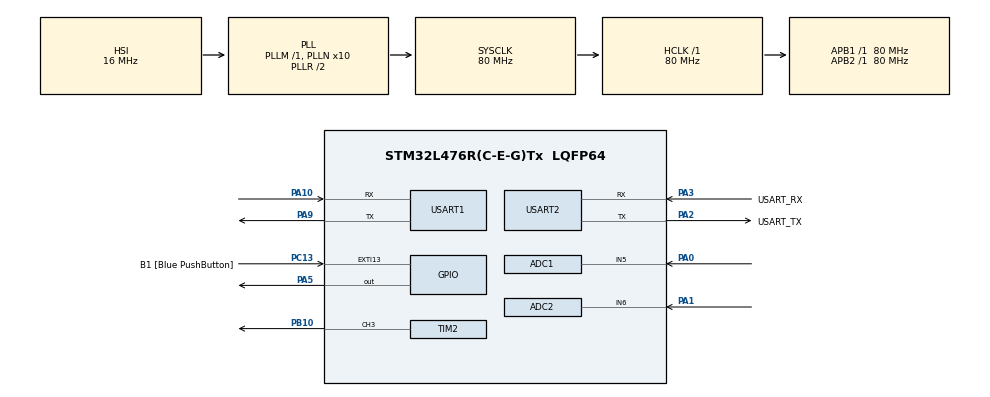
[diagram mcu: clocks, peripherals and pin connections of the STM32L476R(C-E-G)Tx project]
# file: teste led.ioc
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ADC1.Channel-1\#ChannelRegularConversion=ADC_CHANNEL_5
ADC1.NbrOfConversionFlag=1
ADC1.OffsetNumber-1\#ChannelRegularConversion=ADC_OFFSET_NONE
ADC1.Rank-1\#ChannelRegularConversion=1
ADC1.SamplingTime-1\#ChannelRegularConversion=ADC_SAMPLETIME_2CYCLES_5
ADC1.master=1
ADC2.Channel-0\#ChannelRegularConversion=ADC_CHANNEL_6
ADC2.NbrOfConversionFlag=1
ADC2.OffsetNumber-0\#ChannelRegularConversion=ADC_OFFSET_NONE
ADC2.Rank-0\#ChannelRegularConversion=1
ADC2.SamplingTime-0\#ChannelRegularConversion=ADC_SAMPLETIME_2CYCLES_5
FREERTOS.Tasks01=defaultTask,0,128,StartDefaultTask,Default,NULL,Dynamic,NULL,NULL
FREERTOS.configTOTAL_HEAP_SIZE=8192
Mcu.Family=STM32L4
Mcu.Name=STM32L476R(C-E-G)Tx
Mcu.Package=LQFP64
NVIC.PriorityGroup=NVIC_PRIORITYGROUP_4
NVIC.TIM1_UP_TIM16_IRQn=true\:15\:0\:false\:false\:true\:false\:false\:true
NVIC.TIM3_IRQn=true\:5\:0\:false\:false\:true\:true\:true\:true
NVIC.TimeBase=TIM1_UP_TIM16_IRQn
NVIC.TimeBaseIP=TIM1
NVIC.USART1_IRQn=true\:5\:0\:false\:false\:true\:true\:true\:true
NVIC.USART2_IRQn=true\:5\:0\:false\:false\:true\:true\:true\:true
PA0.Signal=ADCx_IN5
PA1.Signal=ADCx_IN6
PA10.Mode=Asynchronous
PA10.Signal=USART1_RX
PA13\ (JTMS-SWDIO).GPIO_Label=TMS
PA13\ (JTMS-SWDIO).Mode=Serial_Wire
PA13\ (JTMS-SWDIO).Signal=SYS_JTMS-SWDIO
PA14\ (JTCK-SWCLK).GPIO_Label=TCK
PA14\ (JTCK-SWCLK).Mode=Serial_Wire
PA14\ (JTCK-SWCLK).Signal=SYS_JTCK-SWCLK
PA2.GPIO_Label=USART_TX
PA2.GPIO_Mode=GPIO_MODE_AF_PP
PA2.GPIO_PuPd=GPIO_NOPULL
PA2.GPIO_Speed=GPIO_SPEED_FREQ_VERY_HIGH
PA2.Mode=Asynchronous
PA2.Signal=USART2_TX
PA3.GPIO_Label=USART_RX
PA3.GPIO_Mode=GPIO_MODE_AF_PP
PA3.GPIO_PuPd=GPIO_NOPULL
PA3.GPIO_Speed=GPIO_SPEED_FREQ_VERY_HIGH
PA3.Mode=Asynchronous
PA3.Signal=USART2_RX
PA5.Signal=GPIO_Output
PA9.Mode=Asynchronous
PA9.Signal=USART1_TX
PB10.Signal=S_TIM2_CH3
PB3\ (JTDO-TRACESWO).GPIO_Label=SWO
PB3\ (JTDO-TRACESWO).Signal=SYS_JTDO-SWO
PC13.GPIO_Label=B1 [Blue PushButton]
PC13.GPIO_ModeDefaultEXTI=GPIO_MODE_IT_FALLING
PC13.GPIO_PuPd=GPIO_NOPULL
PC13.Signal=GPXTI13
PC14-OSC32_IN\ (PC14).Mode=LSE-External-Oscillator
PC14-OSC32_IN\ (PC14).Signal=RCC_OSC32_IN
PC15-OSC32_OUT\ (PC15).Mode=LSE-External-Oscillator
PC15-OSC32_OUT\ (PC15).Signal=RCC_OSC32_OUT
PH0-OSC_IN\ (PH0).Signal=RCC_OSC_IN
PH1-OSC_OUT\ (PH1).Signal=RCC_OSC_OUT
ProjectManager.HeapSize=0x200
ProjectManager.StackSize=0x400
ProjectManager.TargetToolchain=STM32CubeIDE
RCC.ADCFreq_Value=64000000
RCC.AHBFreq_Value=80000000
RCC.APB1Freq_Value=80000000
RCC.APB1TimFreq_Value=80000000
RCC.APB2Freq_Value=80000000
RCC.APB2TimFreq_Value=80000000
RCC.CortexFreq_Value=80000000
RCC.HCLKFreq_Value=80000000
RCC.HSE_VALUE=8000000
RCC.HSI_VALUE=16000000
RCC.MSI_VALUE=4000000
RCC.PLLN=10
RCC.PLLSourceVirtual=RCC_PLLSOURCE_HSI
RCC.PREFETCH_ENABLE=1
RCC.SYSCLKFreq_VALUE=80000000
RCC.SYSCLKSource=RCC_SYSCLKSOURCE_PLLCLK
RCC.USBFreq_Value=64000000
RCC.VCOOutputFreq_Value=160000000
SH.ADCx_IN5.0=ADC1_IN5,IN5-Single-Ended
SH.ADCx_IN6.0=ADC2_IN6,IN6-Single-Ended
SH.S_TIM2_CH3.0=TIM2_CH3,PWM Generation3 CH3
TIM2.Channel-PWM\ Generation3\ CH3=TIM_CHANNEL_3
TIM2.Period=2000-1
TIM2.Prescaler=127
TIM3.Period=10000-1
TIM3.Prescaler=16000-1
USART1.VirtualMode-Asynchronous=VM_ASYNC
USART2.VirtualMode-Asynchronous=VM_ASYNC
VP_FREERTOS_VS_CMSIS_V1.Mode=CMSIS_V1
VP_SYS_VS_tim1.Mode=TIM1
VP_TIM2_VS_ClockSourceINT.Mode=Internal
VP_TIM3_VS_ClockSourceINT.Mode=Internal
board=NUCLEO-L476RG

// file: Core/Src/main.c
/* USER CODE BEGIN Header */
/**
  ******************************************************************************
  * @file           : main.c
  * @brief          : Main program body
  ******************************************************************************
  * @attention
  *
  * <h2><center>&copy; Copyright (c) 2021 STMicroelectronics.
  * All rights reserved.</center></h2>
  *
  * This software component is licensed by ST under BSD 3-Clause license,
  * the "License"; You may not use this file except in compliance with the
  * License. You may obtain a copy of the License at:
  *                        opensource.org/licenses/BSD-3-Clause
  *
  ******************************************************************************
  */
/* USER CODE END Header */
#include "main.h"
#include "cmsis_os.h"

ADC_HandleTypeDef hadc1;
ADC_HandleTypeDef hadc2;

TIM_HandleTypeDef htim2;
TIM_HandleTypeDef htim3;

osThreadId defaultTaskHandle;

void SystemClock_Config(void);
void PeriphCommonClock_Config(void);
static void MX_GPIO_Init(void);
static void MX_USART2_UART_Init(void);
static void MX_TIM2_Init(void);
static void MX_TIM3_Init(void);
static void MX_USART1_UART_Init(void);
static void MX_ADC1_Init(void);
static void MX_ADC2_Init(void);
void StartDefaultTask(void const * argument);

/* USER CODE BEGIN 0 */

#define TX_QUEUE_SIZE 256
#define RX_QUEUE_SIZE 20
#define USART_1 1
#define USART_2 2

QueueHandle_t tx_queue_1;
QueueHandle_t rx_queue_1;
QueueHandle_t tx_queue_2;
QueueHandle_t rx_queue_2;
SemaphoreHandle_t uart_1_mutex = NULL;
SemaphoreHandle_t uart_2_mutex = NULL;

int toupeira = 0;
int seeds_total = 0;
uint16_t acid;
uint16_t wind;
uint16_t temp;
uint16_t umid;

void pwm_task(void * vParam)
{

	while(1)
	{
		int valor_led = seeds_total * 20/3;
		user_pwm_setvalue(valor_led);
	}
}

void sendchar(char c, char usart){
	if(usart == USART_1){
		xQueueSend(tx_queue_1, &c, HAL_MAX_DELAY);
		LL_USART_EnableIT_TXE(USART1);
	}
	else if( usart == USART_2){
		xQueueSend(tx_queue_2, &c, HAL_MAX_DELAY);
		LL_USART_EnableIT_TXE(USART2);
	}
}

void sendString(char * str, char usart){
	while(*str != 0){
		sendchar(*str, usart);
		str++;
	}
}

char readchar(char usart){
	uint8_t caracter=0;
	if(usart == USART_1)
		xQueueReceive(rx_queue_1, &caracter, HAL_MAX_DELAY);
	else if(usart == USART_2)
		xQueueReceive(rx_queue_2, &caracter, HAL_MAX_DELAY);
	return caracter;
}

uint16_t readVoltage(int potenc){

	if(potenc == 0){
		HAL_ADC_Start(&hadc1);
		HAL_ADC_PollForConversion(&hadc1, HAL_MAX_DELAY);
		return HAL_ADC_GetValue(&hadc1);
	}
	HAL_ADC_Start(&hadc2);
	HAL_ADC_PollForConversion(&hadc2, HAL_MAX_DELAY);
	return HAL_ADC_GetValue(&hadc2);
}

void cli(void * vParam)
{
	uint8_t caracter;
	uint16_t prev_acid = 0;
	uint16_t prev_wind = 0;
	uint16_t prev_temp = 0;
	uint16_t prev_umid = 0;
	uint16_t prev_topper = 0;
	while(1)
	{
		uint16_t pot1 = readVoltage(0)/100;
		uint16_t pot2= readVoltage(1)/100;
		acid = pot1;
		wind = pot1 * 1.3;
		temp = pot2;
		umid = pot2 * 0.9;

		if(toupeira != prev_topper || acid != prev_acid || wind != prev_wind || temp != prev_temp || umid != prev_umid){
			char buff[30];
			sprintf(buff,"{\n"
					"Topper: %d,\n"
					"Acid: %d,\n"
					"Wind: %d,\n"
					"Temp: %d,\n"
					"Umid: %d,\n"
					"}\n", toupeira, acid, wind, temp, umid);
			sendString(buff, USART_1);
			prev_acid = acid;
			prev_wind = wind;
			prev_temp = temp;
			prev_umid = umid;
			prev_topper = toupeira;
		}
		vTaskDelay(1000);

	}
}

void usart_1_fcn(void * vParam){
	char c;
	int reset = 0;
	char receiver [20];
	int counter = 0;
	int done = 0;
	// s1235
	while(1){
		c = readchar(USART_1);
		if(c == '\n'){
			reset = 0;
			counter = 0;
			seeds_total = atoi(receiver);
			sendString(receiver, USART2);
		}
		if(c == 't'){
			toupeira = 0;
		}
		if(c == 's'){
			reset = 1;
		}
		if(reset){
			receiver[counter] = c;
			counter += 1;
		}
		if( c != 0){
			sendchar(c, USART_2);
		}
	}
}

void USART_2_IRQHandler(void)
{
	//Se for interrupcao de transmissao
    if (LL_USART_IsActiveFlag_TXE(USART2)) {
        BaseType_t contextSwitch;

        while (LL_USART_IsActiveFlag_TXE(USART2)) {
            uint8_t byte;
            //Desinfileira um byte para tranmistir
            if (xQueueReceiveFromISR(tx_queue_2, &byte, &contextSwitch) == pdFAIL) {
            	//Se a fila de transmissao esta vazia, encerra a transmissao
                LL_USART_DisableIT_TXE(USART2);
                break;
            }
            //Envia o byte retirado da fila de transmisao
            LL_USART_TransmitData8(USART2, byte);
        }
        portYIELD_FROM_ISR(contextSwitch);
    }

    //Se for interrupcao de recepcao
    if (LL_USART_IsActiveFlag_RXNE(USART2)) {
        BaseType_t contextSwitch;

        while (LL_USART_IsActiveFlag_RXNE(USART2)) {
        	//Copia o byte do regstrador de recepcao
        	uint8_t byte =
                LL_USART_ReceiveData8(USART2);
        	//Enfileira o byte recebido na fila de recepcao
            xQueueSendFromISR(rx_queue_2, &byte, &contextSwitch);
            // xQueueSendFromISR can return errQUEUE_FULL
        }
        portYIELD_FROM_ISR(contextSwitch);
    }
}

void USART_1_IRQHandler(void)
{
	//Se for interrupcao de transmissao
    if (LL_USART_IsActiveFlag_TXE(USART1)) {
        BaseType_t contextSwitch;

        while (LL_USART_IsActiveFlag_TXE(USART1)) {
            uint8_t byte;
            //Desinfileira um byte para tranmistir
            if (xQueueReceiveFromISR(tx_queue_1, &byte, &contextSwitch) == pdFAIL) {
            	//Se a fila de transmissao esta vazia, encerra a transmissao
                LL_USART_DisableIT_TXE(USART1);
                break;
            }
            //Envia o byte retirado da fila de transmisao
            LL_USART_TransmitData8(USART1, byte);
        }
        portYIELD_FROM_ISR(contextSwitch);
    }

    //Se for interrupcao de recepcao
    if (LL_USART_IsActiveFlag_RXNE(USART1)) {
        BaseType_t contextSwitch;

        while (LL_USART_IsActiveFlag_RXNE(USART1)) {
        	//Copia o byte do regstrador de recepcao
        	uint8_t byte =
                LL_USART_ReceiveData8(USART1);
        	//Enfileira o byte recebido na fila de recepcao
            xQueueSendFromISR(rx_queue_1, &byte, &contextSwitch);
            // xQueueSendFromISR can return errQUEUE_FULL
        }
        portYIELD_FROM_ISR(contextSwitch);
    }
}

/* USER CODE END 0 */

int main(void)
{

  /* MCU Configuration--------------------------------------------------------*/

  /* Reset of all peripherals, Initializes the Flash interface and the Systick. */
  HAL_Init();

  /* Configure the system clock */
  SystemClock_Config();

/* Configure the peripherals common clocks */
  PeriphCommonClock_Config();

  /* Initialize all configured peripherals */
  MX_GPIO_Init();
  MX_USART2_UART_Init();
  MX_TIM2_Init();
  MX_TIM3_Init();
  MX_USART1_UART_Init();
  MX_ADC1_Init();
  MX_ADC2_Init();
  /* USER CODE BEGIN 2 */
  HAL_TIM_Base_Start_IT(&htim3);

  /* USER CODE END 2 */

  /* Create the thread(s) */
  /* definition and creation of defaultTask */
  osThreadDef(defaultTask, StartDefaultTask, osPriorityNormal, 0, 128);
  defaultTaskHandle = osThreadCreate(osThread(defaultTask), NULL);

  /* USER CODE BEGIN RTOS_THREADS */
  /* add threads, ... */
  xTaskCreate(usart_1_fcn,    /* Nome da funcao que contem a task */
    		  	  "usart1fcn",     /* Nome descritivo */
  			  configMINIMAL_STACK_SIZE,   /* tamanho da pilha da task */
  			  NULL,       /* parametro para a task */
  			  1,          /* nivel de prioridade */
  			  NULL);      /* ponteiro para o handle da task */
  xTaskCreate(pwm_task,    /* Nome da funcao que contem a task */
    		  	  "pwm_task",     /* Nome descritivo */
  			  configMINIMAL_STACK_SIZE,   /* tamanho da pilha da task */
  			  NULL,       /* parametro para a task */
  			  1,          /* nivel de prioridade */
  			  NULL);      /* ponteiro para o handle da task */
  xTaskCreate(cli,    /* Nome da funcao que contem a task */
      		  	  "cli",     /* Nome descritivo */
    			  256,   /* tamanho da pilha da task */
    			  NULL,       /* parametro para a task */
    			  1,          /* nivel de prioridade */
    			  NULL);      /* ponteiro para o handle da task */
  /* USER CODE END RTOS_THREADS */

  /* Start scheduler */
  osKernelStart();

  /* We should never get here as control is now taken by the scheduler */
  /* Infinite loop */
  while (1)
  {

  }
}

void SystemClock_Config(void)
{
  RCC_OscInitTypeDef RCC_OscInitStruct = {0};
  RCC_ClkInitTypeDef RCC_ClkInitStruct = {0};

  /** Configure the main internal regulator output voltage
  */
  if (HAL_PWREx_ControlVoltageScaling(PWR_REGULATOR_VOLTAGE_SCALE1) != HAL_OK)
  {
    Error_Handler();
  }
  /** Initializes the RCC Oscillators according to the specified parameters
  * in the RCC_OscInitTypeDef structure.
  */
  RCC_OscInitStruct.OscillatorType = RCC_OSCILLATORTYPE_HSI;
  RCC_OscInitStruct.HSIState = RCC_HSI_ON;
  RCC_OscInitStruct.HSICalibrationValue = RCC_HSICALIBRATION_DEFAULT;
  RCC_OscInitStruct.PLL.PLLState = RCC_PLL_ON;
  RCC_OscInitStruct.PLL.PLLSource = RCC_PLLSOURCE_HSI;
  RCC_OscInitStruct.PLL.PLLM = 1;
  RCC_OscInitStruct.PLL.PLLN = 10;
  RCC_OscInitStruct.PLL.PLLP = RCC_PLLP_DIV7;
  RCC_OscInitStruct.PLL.PLLQ = RCC_PLLQ_DIV2;
  RCC_OscInitStruct.PLL.PLLR = RCC_PLLR_DIV2;
  if (HAL_RCC_OscConfig(&RCC_OscInitStruct) != HAL_OK)
  {
    Error_Handler();
  }
  /** Initializes the CPU, AHB and APB buses clocks
  */
  RCC_ClkInitStruct.ClockType = RCC_CLOCKTYPE_HCLK|RCC_CLOCKTYPE_SYSCLK
                              |RCC_CLOCKTYPE_PCLK1|RCC_CLOCKTYPE_PCLK2;
  RCC_ClkInitStruct.SYSCLKSource = RCC_SYSCLKSOURCE_PLLCLK;
  RCC_ClkInitStruct.AHBCLKDivider = RCC_SYSCLK_DIV1;
  RCC_ClkInitStruct.APB1CLKDivider = RCC_HCLK_DIV1;
  RCC_ClkInitStruct.APB2CLKDivider = RCC_HCLK_DIV1;

  if (HAL_RCC_ClockConfig(&RCC_ClkInitStruct, FLASH_LATENCY_4) != HAL_OK)
  {
    Error_Handler();
  }
}

void PeriphCommonClock_Config(void)
{
  RCC_PeriphCLKInitTypeDef PeriphClkInit = {0};

  /** Initializes the peripherals clock
  */
  PeriphClkInit.PeriphClockSelection = RCC_PERIPHCLK_ADC;
  PeriphClkInit.AdcClockSelection = RCC_ADCCLKSOURCE_PLLSAI1;
  PeriphClkInit.PLLSAI1.PLLSAI1Source = RCC_PLLSOURCE_HSI;
  PeriphClkInit.PLLSAI1.PLLSAI1M = 1;
  PeriphClkInit.PLLSAI1.PLLSAI1N = 8;
  PeriphClkInit.PLLSAI1.PLLSAI1P = RCC_PLLP_DIV7;
  PeriphClkInit.PLLSAI1.PLLSAI1Q = RCC_PLLQ_DIV2;
  PeriphClkInit.PLLSAI1.PLLSAI1R = RCC_PLLR_DIV2;
  PeriphClkInit.PLLSAI1.PLLSAI1ClockOut = RCC_PLLSAI1_ADC1CLK;
  if (HAL_RCCEx_PeriphCLKConfig(&PeriphClkInit) != HAL_OK)
  {
    Error_Handler();
  }
}

static void MX_ADC1_Init(void)
{

  ADC_MultiModeTypeDef multimode = {0};
  ADC_ChannelConfTypeDef sConfig = {0};

  /** Common config
  */
  hadc1.Instance = ADC1;
  hadc1.Init.ClockPrescaler = ADC_CLOCK_ASYNC_DIV1;
  hadc1.Init.Resolution = ADC_RESOLUTION_12B;
  hadc1.Init.DataAlign = ADC_DATAALIGN_RIGHT;
  hadc1.Init.ScanConvMode = ADC_SCAN_DISABLE;
  hadc1.Init.EOCSelection = ADC_EOC_SINGLE_CONV;
  hadc1.Init.LowPowerAutoWait = DISABLE;
  hadc1.Init.ContinuousConvMode = DISABLE;
  hadc1.Init.NbrOfConversion = 1;
  hadc1.Init.DiscontinuousConvMode = DISABLE;
  hadc1.Init.ExternalTrigConv = ADC_SOFTWARE_START;
  hadc1.Init.ExternalTrigConvEdge = ADC_EXTERNALTRIGCONVEDGE_NONE;
  hadc1.Init.DMAContinuousRequests = DISABLE;
  hadc1.Init.Overrun = ADC_OVR_DATA_PRESERVED;
  hadc1.Init.OversamplingMode = DISABLE;
  if (HAL_ADC_Init(&hadc1) != HAL_OK)
  {
    Error_Handler();
  }
  /** Configure the ADC multi-mode
  */
  multimode.Mode = ADC_MODE_INDEPENDENT;
  if (HAL_ADCEx_MultiModeConfigChannel(&hadc1, &multimode) != HAL_OK)
  {
    Error_Handler();
  }
  /** Configure Regular Channel
  */
  sConfig.Channel = ADC_CHANNEL_5;
  sConfig.Rank = ADC_REGULAR_RANK_1;
  sConfig.SamplingTime = ADC_SAMPLETIME_2CYCLES_5;
  sConfig.SingleDiff = ADC_SINGLE_ENDED;
  sConfig.OffsetNumber = ADC_OFFSET_NONE;
  sConfig.Offset = 0;
  if (HAL_ADC_ConfigChannel(&hadc1, &sConfig) != HAL_OK)
  {
    Error_Handler();
  }

}

static void MX_ADC2_Init(void)
{

  ADC_ChannelConfTypeDef sConfig = {0};

  /** Common config
  */
  hadc2.Instance = ADC2;
  hadc2.Init.ClockPrescaler = ADC_CLOCK_ASYNC_DIV1;
  hadc2.Init.Resolution = ADC_RESOLUTION_12B;
  hadc2.Init.DataAlign = ADC_DATAALIGN_RIGHT;
  hadc2.Init.ScanConvMode = ADC_SCAN_DISABLE;
  hadc2.Init.EOCSelection = ADC_EOC_SINGLE_CONV;
  hadc2.Init.LowPowerAutoWait = DISABLE;
  hadc2.Init.ContinuousConvMode = DISABLE;
  hadc2.Init.NbrOfConversion = 1;
  hadc2.Init.DiscontinuousConvMode = DISABLE;
  hadc2.Init.ExternalTrigConv = ADC_SOFTWARE_START;
  hadc2.Init.ExternalTrigConvEdge = ADC_EXTERNALTRIGCONVEDGE_NONE;
  hadc2.Init.DMAContinuousRequests = DISABLE;
  hadc2.Init.Overrun = ADC_OVR_DATA_PRESERVED;
  hadc2.Init.OversamplingMode = DISABLE;
  if (HAL_ADC_Init(&hadc2) != HAL_OK)
  {
    Error_Handler();
  }
  /** Configure Regular Channel
  */
  sConfig.Channel = ADC_CHANNEL_6;
  sConfig.Rank = ADC_REGULAR_RANK_1;
  sConfig.SamplingTime = ADC_SAMPLETIME_2CYCLES_5;
  sConfig.SingleDiff = ADC_SINGLE_ENDED;
  sConfig.OffsetNumber = ADC_OFFSET_NONE;
  sConfig.Offset = 0;
  if (HAL_ADC_ConfigChannel(&hadc2, &sConfig) != HAL_OK)
  {
    Error_Handler();
  }

}

static void MX_TIM2_Init(void)
{

  TIM_ClockConfigTypeDef sClockSourceConfig = {0};
  TIM_MasterConfigTypeDef sMasterConfig = {0};
  TIM_OC_InitTypeDef sConfigOC = {0};

  htim2.Instance = TIM2;
  htim2.Init.Prescaler = 127;
  htim2.Init.CounterMode = TIM_COUNTERMODE_UP;
  htim2.Init.Period = 2000-1;
  htim2.Init.ClockDivision = TIM_CLOCKDIVISION_DIV1;
  htim2.Init.AutoReloadPreload = TIM_AUTORELOAD_PRELOAD_DISABLE;
  if (HAL_TIM_Base_Init(&htim2) != HAL_OK)
  {
    Error_Handler();
  }
  sClockSourceConfig.ClockSource = TIM_CLOCKSOURCE_INTERNAL;
  if (HAL_TIM_ConfigClockSource(&htim2, &sClockSourceConfig) != HAL_OK)
  {
    Error_Handler();
  }
  if (HAL_TIM_PWM_Init(&htim2) != HAL_OK)
  {
    Error_Handler();
  }
  sMasterConfig.MasterOutputTrigger = TIM_TRGO_RESET;
  sMasterConfig.MasterSlaveMode = TIM_MASTERSLAVEMODE_DISABLE;
  if (HAL_TIMEx_MasterConfigSynchronization(&htim2, &sMasterConfig) != HAL_OK)
  {
    Error_Handler();
  }
  sConfigOC.OCMode = TIM_OCMODE_PWM1;
  sConfigOC.Pulse = 0;
  sConfigOC.OCPolarity = TIM_OCPOLARITY_HIGH;
  sConfigOC.OCFastMode = TIM_OCFAST_DISABLE;
  if (HAL_TIM_PWM_ConfigChannel(&htim2, &sConfigOC, TIM_CHANNEL_3) != HAL_OK)
  {
    Error_Handler();
  }
  HAL_TIM_MspPostInit(&htim2);

}

static void MX_TIM3_Init(void)
{

  TIM_ClockConfigTypeDef sClockSourceConfig = {0};
  TIM_MasterConfigTypeDef sMasterConfig = {0};

  htim3.Instance = TIM3;
  htim3.Init.Prescaler = 16000-1;
  htim3.Init.CounterMode = TIM_COUNTERMODE_UP;
  htim3.Init.Period = 10000-1;
  htim3.Init.ClockDivision = TIM_CLOCKDIVISION_DIV1;
  htim3.Init.AutoReloadPreload = TIM_AUTORELOAD_PRELOAD_DISABLE;
  if (HAL_TIM_Base_Init(&htim3) != HAL_OK)
  {
    Error_Handler();
  }
  sClockSourceConfig.ClockSource = TIM_CLOCKSOURCE_INTERNAL;
  if (HAL_TIM_ConfigClockSource(&htim3, &sClockSourceConfig) != HAL_OK)
  {
    Error_Handler();
  }
  sMasterConfig.MasterOutputTrigger = TIM_TRGO_RESET;
  sMasterConfig.MasterSlaveMode = TIM_MASTERSLAVEMODE_DISABLE;
  if (HAL_TIMEx_MasterConfigSynchronization(&htim3, &sMasterConfig) != HAL_OK)
  {
    Error_Handler();
  }

}

static void MX_USART1_UART_Init(void)
{

  LL_USART_InitTypeDef USART_InitStruct = {0};

  LL_GPIO_InitTypeDef GPIO_InitStruct = {0};
  RCC_PeriphCLKInitTypeDef PeriphClkInit = {0};

  /** Initializes the peripherals clock
  */
  PeriphClkInit.PeriphClockSelection = RCC_PERIPHCLK_USART1;
  PeriphClkInit.Usart1ClockSelection = RCC_USART1CLKSOURCE_PCLK2;
  if (HAL_RCCEx_PeriphCLKConfig(&PeriphClkInit) != HAL_OK)
  {
    Error_Handler();
  }

  /* Peripheral clock enable */
  LL_APB2_GRP1_EnableClock(LL_APB2_GRP1_PERIPH_USART1);

  LL_AHB2_GRP1_EnableClock(LL_AHB2_GRP1_PERIPH_GPIOA);
  /**USART1 GPIO Configuration
  PA9   ------> USART1_TX
  PA10   ------> USART1_RX
  */
  GPIO_InitStruct.Pin = LL_GPIO_PIN_9|LL_GPIO_PIN_10;
  GPIO_InitStruct.Mode = LL_GPIO_MODE_ALTERNATE;
  GPIO_InitStruct.Speed = LL_GPIO_SPEED_FREQ_VERY_HIGH;
  GPIO_InitStruct.OutputType = LL_GPIO_OUTPUT_PUSHPULL;
  GPIO_InitStruct.Pull = LL_GPIO_PULL_NO;
  GPIO_InitStruct.Alternate = LL_GPIO_AF_7;
  LL_GPIO_Init(GPIOA, &GPIO_InitStruct);

  /* USART1 interrupt Init */
  NVIC_SetPriority(USART1_IRQn, NVIC_EncodePriority(NVIC_GetPriorityGrouping(),5, 0));
  NVIC_EnableIRQ(USART1_IRQn);

  USART_InitStruct.BaudRate = 115200;
  USART_InitStruct.DataWidth = LL_USART_DATAWIDTH_8B;
  USART_InitStruct.StopBits = LL_USART_STOPBITS_1;
  USART_InitStruct.Parity = LL_USART_PARITY_NONE;
  USART_InitStruct.TransferDirection = LL_USART_DIRECTION_TX_RX;
  USART_InitStruct.HardwareFlowControl = LL_USART_HWCONTROL_NONE;
  USART_InitStruct.OverSampling = LL_USART_OVERSAMPLING_16;
  LL_USART_Init(USART1, &USART_InitStruct);
  LL_USART_ConfigAsyncMode(USART1);
  LL_USART_Enable(USART1);
  /* USER CODE BEGIN USART1_Init 2 */
  tx_queue_1 = xQueueCreate(TX_QUEUE_SIZE, sizeof(uint8_t));
  rx_queue_1 = xQueueCreate(RX_QUEUE_SIZE, sizeof(uint8_t));
  //Habilita a interrupcao de recepcao pela USART2
  LL_USART_EnableIT_RXNE(USART1);
  /* USER CODE END USART1_Init 2 */

}

static void MX_USART2_UART_Init(void)
{

  LL_USART_InitTypeDef USART_InitStruct = {0};

  LL_GPIO_InitTypeDef GPIO_InitStruct = {0};
  RCC_PeriphCLKInitTypeDef PeriphClkInit = {0};

  /** Initializes the peripherals clock
  */
  PeriphClkInit.PeriphClockSelection = RCC_PERIPHCLK_USART2;
  PeriphClkInit.Usart2ClockSelection = RCC_USART2CLKSOURCE_PCLK1;
  if (HAL_RCCEx_PeriphCLKConfig(&PeriphClkInit) != HAL_OK)
  {
    Error_Handler();
  }

  /* Peripheral clock enable */
  LL_APB1_GRP1_EnableClock(LL_APB1_GRP1_PERIPH_USART2);

  LL_AHB2_GRP1_EnableClock(LL_AHB2_GRP1_PERIPH_GPIOA);
  /**USART2 GPIO Configuration
  PA2   ------> USART2_TX
  PA3   ------> USART2_RX
  */
  GPIO_InitStruct.Pin = LL_GPIO_PIN_2|LL_GPIO_PIN_3;
  GPIO_InitStruct.Mode = LL_GPIO_MODE_ALTERNATE;
  GPIO_InitStruct.Speed = LL_GPIO_SPEED_FREQ_VERY_HIGH;
  GPIO_InitStruct.OutputType = LL_GPIO_OUTPUT_PUSHPULL;
  GPIO_InitStruct.Pull = LL_GPIO_PULL_NO;
  GPIO_InitStruct.Alternate = LL_GPIO_AF_7;
  LL_GPIO_Init(GPIOA, &GPIO_InitStruct);

  /* USART2 interrupt Init */
  NVIC_SetPriority(USART2_IRQn, NVIC_EncodePriority(NVIC_GetPriorityGrouping(),5, 0));
  NVIC_EnableIRQ(USART2_IRQn);

  USART_InitStruct.BaudRate = 115200;
  USART_InitStruct.DataWidth = LL_USART_DATAWIDTH_8B;
  USART_InitStruct.StopBits = LL_USART_STOPBITS_1;
  USART_InitStruct.Parity = LL_USART_PARITY_NONE;
  USART_InitStruct.TransferDirection = LL_USART_DIRECTION_TX_RX;
  USART_InitStruct.HardwareFlowControl = LL_USART_HWCONTROL_NONE;
  USART_InitStruct.OverSampling = LL_USART_OVERSAMPLING_16;
  LL_USART_Init(USART2, &USART_InitStruct);
  LL_USART_ConfigAsyncMode(USART2);
  LL_USART_Enable(USART2);
  /* USER CODE BEGIN USART2_Init 2 */
  tx_queue_2 = xQueueCreate(TX_QUEUE_SIZE, sizeof(uint8_t));
  rx_queue_2 = xQueueCreate(RX_QUEUE_SIZE, sizeof(uint8_t));
  //Habilita a interrupcao de recepcao pela USART2
  LL_USART_EnableIT_RXNE(USART2);
  /* USER CODE END USART2_Init 2 */

}

static void MX_GPIO_Init(void)
{
  GPIO_InitTypeDef GPIO_InitStruct = {0};

  /* GPIO Ports Clock Enable */
  __HAL_RCC_GPIOC_CLK_ENABLE();
  __HAL_RCC_GPIOH_CLK_ENABLE();
  __HAL_RCC_GPIOA_CLK_ENABLE();
  __HAL_RCC_GPIOB_CLK_ENABLE();

  /*Configure GPIO pin Output Level */
  HAL_GPIO_WritePin(GPIOA, GPIO_PIN_5, GPIO_PIN_RESET);

  /*Configure GPIO pin : B1_Pin */
  GPIO_InitStruct.Pin = B1_Pin;
  GPIO_InitStruct.Mode = GPIO_MODE_IT_FALLING;
  GPIO_InitStruct.Pull = GPIO_NOPULL;
  HAL_GPIO_Init(B1_GPIO_Port, &GPIO_InitStruct);

  /*Configure GPIO pin : PA5 */
  GPIO_InitStruct.Pin = GPIO_PIN_5;
  GPIO_InitStruct.Mode = GPIO_MODE_OUTPUT_PP;
  GPIO_InitStruct.Pull = GPIO_NOPULL;
  GPIO_InitStruct.Speed = GPIO_SPEED_FREQ_LOW;
  HAL_GPIO_Init(GPIOA, &GPIO_InitStruct);

}

/* USER CODE BEGIN 4 */

void user_pwm_setvalue(uint16_t value)
{

	HAL_TIM_PWM_Stop(&htim2, TIM_CHANNEL_3);
	TIM_OC_InitTypeDef sConfigOC;

    sConfigOC.OCMode = TIM_OCMODE_PWM1;
    sConfigOC.Pulse = value;
    sConfigOC.OCPolarity = TIM_OCPOLARITY_HIGH;
    sConfigOC.OCFastMode = TIM_OCFAST_DISABLE;
    HAL_TIM_PWM_ConfigChannel(&htim2, &sConfigOC, TIM_CHANNEL_3);
    HAL_TIM_PWM_Start(&htim2, TIM_CHANNEL_3);
}

/* USER CODE END 4 */

void StartDefaultTask(void const * argument)
{
  for(;;)
  {
    osDelay(1);
  }
}

void HAL_TIM_PeriodElapsedCallback(TIM_HandleTypeDef *htim)
{
  if (htim->Instance == TIM1) {
    HAL_IncTick();
  }
  /* USER CODE BEGIN Callback 1 */
  if (htim->Instance == htim3.Instance){
          /* Toggle LED */
          HAL_GPIO_TogglePin(GPIOA, GPIO_PIN_5);
          toupeira = 1;
      }
  /* USER CODE END Callback 1 */
}

void Error_Handler(void)
{
  __disable_irq();
  while (1)
  {
  }
}

/************************ (C) COPYRIGHT STMicroelectronics *****END OF FILE****/
